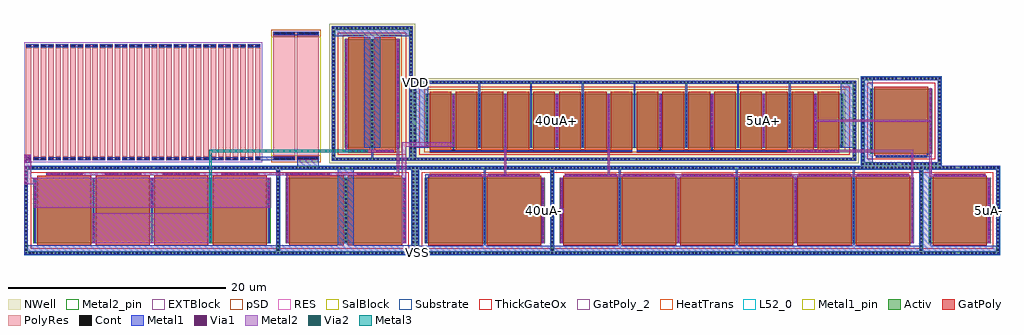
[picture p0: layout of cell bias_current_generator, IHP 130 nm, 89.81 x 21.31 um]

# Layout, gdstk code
from math import pi, radians
import gdstk
lib = gdstk.Library(unit=1e-6, precision=1e-09)
def R(c, l, rs):  # rectangles x0, y0, x1, y1
    for r in rs: c.add(gdstk.rectangle(r[:2], r[2:], *l))
def A(c, l, x, y, w, h, nx, ny, dx, dy):  # array of equal rectangles
    R(c, l, [(x+i*dx, y+j*dy, x+i*dx+w, y+j*dy+h) for i in range(nx) for j in range(ny)])
def P(c, l, *ps):  # polygons
    for p in ps: c.add(gdstk.Polygon(p, *l))
Activ = (1, 0)
GatPoly = (5, 0)
GatPoly_2 = (5, 2)
Cont = (6, 0)
Metal1 = (8, 0)
Metal1_pin = (8, 2)
Metal2 = (10, 0)
Metal2_pin = (10, 2)
pSD = (14, 0)
Via1 = (19, 0)
RES = (24, 0)
SalBlock = (28, 0)
Via2 = (29, 0)
Metal3 = (30, 0)
NWell = (31, 0)
Substrate = (40, 0)
ThickGateOx = (44, 0)
HeatTrans = (51, 0)
L52_0 = (52, 0)
EXTBlock = (111, 0)
PolyRes = (128, 0)

pmoshv = lib.new_cell('pmosHV')
A(pmoshv, Activ, 0, 0, 0.3, 0.3, 17, 1, 2.38, 0)
R(pmoshv, Activ, [(-1.19,-0.89,-0.89,5.89), (39.27,-0.89,39.57,5.89), (0,0,38.38,5), (-1.19,5.89,39.57,6.19)])
P(pmoshv, Activ, [(-1.19,-1.19),(-1.19,5.89),(-0.89,5.89),(-0.89,-0.89),(39.27,-0.89),(39.27,5.89),(-1.19,5.89),(-1.19,6.19),(39.57,6.19),(39.57,-1.19)])
A(pmoshv, GatPoly, 0.34, -0.18, 2, 5.36, 16, 1, 2.38, 0)
R(pmoshv, GatPoly_2, [(0.34,-0.18,2.34,5.18)])
A(pmoshv, Cont, -1.12, -1.12, 0.16, 0.16, 59, 2, 0.34, 7.08)
A(pmoshv, Cont, 19.28, -1.12, 0.16, 0.16, 60, 2, 0.34, 7.08)
A(pmoshv, Cont, -1.12, -0.78, 0.16, 0.16, 1, 9, 0, 0.34)
A(pmoshv, Cont, 39.34, -0.78, 0.16, 0.16, 1, 9, 0, 0.34)
A(pmoshv, Cont, 0.07, 0.07, 0.16, 0.16, 17, 4, 2.38, 0.36)
A(pmoshv, Cont, 0.07, 1.515, 0.16, 0.16, 17, 3, 2.38, 0.36)
A(pmoshv, Cont, -1.12, 2.56, 0.16, 0.16, 1, 10, 0, 0.34)
A(pmoshv, Cont, 39.34, 2.56, 0.16, 0.16, 1, 10, 0, 0.34)
A(pmoshv, Cont, 0.07, 2.6, 0.16, 0.16, 17, 3, 2.38, 0.36)
A(pmoshv, Cont, 0.07, 3.685, 0.16, 0.16, 17, 3, 2.38, 0.36)
A(pmoshv, Cont, 0.07, 4.77, 0.16, 0.16, 17, 1, 2.38, 0)
A(pmoshv, Metal1, 0.07, 0, 0.16, 5, 17, 1, 2.38, 0)
R(pmoshv, Metal1, [(-1.19,-1.19,39.57,-0.89), (-1.19,-0.89,-0.89,5.89), (39.27,-0.89,39.57,5.89), (-1.19,5.89,39.57,6.19)])
R(pmoshv, Metal1_pin, [(0.07,0,0.23,5), (2.45,0,2.61,5)])
R(pmoshv, pSD, [(-0.18,-0.4,38.56,5.4)])
R(pmoshv, NWell, [(-1.43,-1.43,39.81,6.43), (-0.62,-0.62,39,5.62)])
R(pmoshv, Substrate, [(38.08,0,38.38,0.3)])
R(pmoshv, ThickGateOx, [(-0.62,-0.62,39,5.62)])
A(pmoshv, HeatTrans, 0.34, -0.18, 2, 5.36, 16, 1, 2.38, 0)
pmoshv.add(gdstk.Label('pmosHV', (1.34,2.5), layer=63, texttype=0))
pmoshv.add(gdstk.Label('well', (19.19,-1.04), layer=63, texttype=0))
pmoshv.add(gdstk.Label('pmos', (1.34,2.5), layer=51, texttype=0))
pmoshv.add(gdstk.Label('pmos', (3.72,2.5), layer=51, texttype=0))
pmoshv.add(gdstk.Label('pmos', (6.1,2.5), layer=51, texttype=0))
pmoshv.add(gdstk.Label('pmos', (8.48,2.5), layer=51, texttype=0))
pmoshv.add(gdstk.Label('pmos', (10.86,2.5), layer=51, texttype=0))
pmoshv.add(gdstk.Label('pmos', (13.24,2.5), layer=51, texttype=0))
pmoshv.add(gdstk.Label('pmos', (15.62,2.5), layer=51, texttype=0))
pmoshv.add(gdstk.Label('pmos', (18,2.5), layer=51, texttype=0))
pmoshv.add(gdstk.Label('pmos', (20.38,2.5), layer=51, texttype=0))
pmoshv.add(gdstk.Label('pmos', (22.76,2.5), layer=51, texttype=0))
pmoshv.add(gdstk.Label('pmos', (25.14,2.5), layer=51, texttype=0))
pmoshv.add(gdstk.Label('pmos', (27.52,2.5), layer=51, texttype=0))
pmoshv.add(gdstk.Label('pmos', (29.9,2.5), layer=51, texttype=0))
pmoshv.add(gdstk.Label('pmos', (32.28,2.5), layer=51, texttype=0))
pmoshv.add(gdstk.Label('pmos', (34.66,2.5), layer=51, texttype=0))
pmoshv.add(gdstk.Label('pmos', (37.04,2.5), layer=51, texttype=0))

nmoshv_2 = lib.new_cell('nmosHV$2')
A(nmoshv_2, Activ, 0, 0, 0.3, 0.3, 7, 1, 5.38, 0)
R(nmoshv_2, Activ, [(-0.84,-0.79,-0.54,6.79), (33.12,-0.79,33.42,6.79), (0,0,32.58,6), (-0.84,6.79,33.42,7.09)])
P(nmoshv_2, Activ, [(-0.84,-1.09),(-0.84,6.79),(-0.54,6.79),(-0.54,-0.79),(33.12,-0.79),(33.12,6.79),(-0.84,6.79),(-0.84,7.09),(33.42,7.09),(33.42,-1.09)])
A(nmoshv_2, GatPoly, 0.34, -0.18, 5, 6.36, 6, 1, 5.38, 0)
R(nmoshv_2, GatPoly_2, [(0.34,-0.18,5.34,6.18)])
A(nmoshv_2, Cont, -0.77, -1.02, 0.16, 0.16, 50, 2, 0.34, 7.88)
A(nmoshv_2, Cont, 16.53, -1.02, 0.16, 0.16, 50, 2, 0.34, 7.88)
A(nmoshv_2, Cont, -0.77, -0.68, 0.16, 0.16, 1, 11, 0, 0.34)
A(nmoshv_2, Cont, 33.19, -0.68, 0.16, 0.16, 1, 11, 0, 0.34)
A(nmoshv_2, Cont, 0.07, 0.07, 0.16, 0.16, 7, 4, 5.38, 0.355)
A(nmoshv_2, Cont, 0.07, 1.495, 0.16, 0.16, 7, 4, 5.38, 0.355)
A(nmoshv_2, Cont, 0.07, 2.92, 0.16, 0.16, 7, 4, 5.38, 0.355)
A(nmoshv_2, Cont, -0.77, 3.12, 0.16, 0.16, 1, 11, 0, 0.34)
A(nmoshv_2, Cont, 33.19, 3.12, 0.16, 0.16, 1, 11, 0, 0.34)
A(nmoshv_2, Cont, 0.07, 4.345, 0.16, 0.16, 7, 4, 5.38, 0.355)
A(nmoshv_2, Cont, 0.07, 5.77, 0.16, 0.16, 7, 1, 5.38, 0)
A(nmoshv_2, Metal1, 0.07, 0, 0.16, 6, 7, 1, 5.38, 0)
R(nmoshv_2, Metal1, [(-0.84,-1.09,33.42,-0.79), (-0.84,-0.79,-0.54,6.79), (33.12,-0.79,33.42,6.79), (-0.84,6.79,33.42,7.09)])
R(nmoshv_2, Metal1_pin, [(0.07,0,0.23,6), (5.45,0,5.61,6)])
R(nmoshv_2, pSD, [(-0.87,-0.76,-0.51,6.76), (33.09,-0.76,33.45,6.76), (-0.87,6.76,33.45,7.12)])
P(nmoshv_2, pSD, [(-0.87,-1.12),(-0.87,6.76),(-0.51,6.76),(-0.51,-0.76),(33.09,-0.76),(33.09,6.76),(-0.87,6.76),(-0.87,7.12),(33.45,7.12),(33.45,-1.12)])
R(nmoshv_2, Substrate, [(-0.87,-0.76,-0.51,6.76), (33.09,-0.76,33.45,6.76), (-0.87,6.76,33.45,7.12)])
P(nmoshv_2, Substrate, [(-0.87,-1.12),(-0.87,6.76),(-0.51,6.76),(-0.51,-0.76),(33.09,-0.76),(33.09,6.76),(-0.87,6.76),(-0.87,7.12),(33.45,7.12),(33.45,-1.12)])
R(nmoshv_2, ThickGateOx, [(-0.27,-0.52,32.85,6.52)])
A(nmoshv_2, HeatTrans, 0.34, -0.18, 5, 6.36, 6, 1, 5.38, 0)
nmoshv_2.add(gdstk.Label('nmosHV', (2.84,3), layer=63, texttype=0))
nmoshv_2.add(gdstk.Label('sub!', (16.29,-0.94), layer=63, texttype=0))
nmoshv_2.add(gdstk.Label('nmosHV', (2.84,3), layer=51, texttype=0))
nmoshv_2.add(gdstk.Label('nmosHV', (8.22,3), layer=51, texttype=0))
nmoshv_2.add(gdstk.Label('nmosHV', (13.6,3), layer=51, texttype=0))
nmoshv_2.add(gdstk.Label('nmosHV', (18.98,3), layer=51, texttype=0))
nmoshv_2.add(gdstk.Label('nmosHV', (24.36,3), layer=51, texttype=0))
nmoshv_2.add(gdstk.Label('nmosHV', (29.74,3), layer=51, texttype=0))

via_stack = lib.new_cell('via_stack')
R(via_stack, Metal1, [(-3.015,-0.105,3.015,0.105)])
R(via_stack, Metal2, [(-3.015,-0.1,3.015,0.1)])
A(via_stack, Via1, -2.965, -0.095, 0.19, 0.19, 15, 1, 0.41, 0)

via_stack_2 = lib.new_cell('via_stack$2')
R(via_stack_2, GatPoly, [(-0.15,-2.36,0.15,2.36)])
A(via_stack_2, Cont, -0.08, -2.29, 0.16, 0.16, 1, 14, 0, 0.34)
R(via_stack_2, Metal1, [(-0.08,-2.34,0.08,2.34)])

via_stack_4 = lib.new_cell('via_stack$4')
R(via_stack_4, Metal1, [(-0.105,-2.4,0.105,2.4)])
R(via_stack_4, Metal2, [(-0.1,-2.4,0.1,2.4)])
A(via_stack_4, Via1, -0.095, -2.35, 0.19, 0.19, 1, 12, 0, 0.41)

nmoshv_4 = lib.new_cell('nmosHV$4')
R(nmoshv_4, Activ, [(-0.84,-0.79,-0.54,6.79), (6.22,-0.79,6.52,6.79), (0,0,0.3,0.3), (0,0,5.68,6), (5.38,0,5.68,0.3), (-0.84,6.79,6.52,7.09)])
P(nmoshv_4, Activ, [(-0.84,-1.09),(-0.84,6.79),(-0.54,6.79),(-0.54,-0.79),(6.22,-0.79),(6.22,6.79),(-0.84,6.79),(-0.84,7.09),(6.52,7.09),(6.52,-1.09)])
R(nmoshv_4, GatPoly, [(0.34,-0.18,5.34,6.18)])
R(nmoshv_4, GatPoly_2, [(0.34,-0.18,5.34,6.18)])
A(nmoshv_4, Cont, -0.77, -1.02, 0.16, 0.16, 10, 2, 0.34, 7.88)
A(nmoshv_4, Cont, 2.89, -1.02, 0.16, 0.16, 11, 2, 0.34, 7.88)
A(nmoshv_4, Cont, -0.77, -0.68, 0.16, 0.16, 1, 11, 0, 0.34)
A(nmoshv_4, Cont, 6.29, -0.68, 0.16, 0.16, 1, 11, 0, 0.34)
A(nmoshv_4, Cont, 0.07, 0.07, 0.16, 0.16, 1, 4, 0, 0.355)
A(nmoshv_4, Cont, 5.45, 0.07, 0.16, 0.16, 1, 4, 0, 0.355)
A(nmoshv_4, Cont, 0.07, 1.495, 0.16, 0.16, 1, 4, 0, 0.355)
A(nmoshv_4, Cont, 5.45, 1.495, 0.16, 0.16, 1, 4, 0, 0.355)
A(nmoshv_4, Cont, 0.07, 2.92, 0.16, 0.16, 1, 4, 0, 0.355)
A(nmoshv_4, Cont, 5.45, 2.92, 0.16, 0.16, 1, 4, 0, 0.355)
A(nmoshv_4, Cont, -0.77, 3.12, 0.16, 0.16, 1, 11, 0, 0.34)
A(nmoshv_4, Cont, 6.29, 3.12, 0.16, 0.16, 1, 11, 0, 0.34)
A(nmoshv_4, Cont, 0.07, 4.345, 0.16, 0.16, 1, 4, 0, 0.355)
A(nmoshv_4, Cont, 5.45, 4.345, 0.16, 0.16, 1, 4, 0, 0.355)
R(nmoshv_4, Cont, [(0.07,5.77,0.23,5.93), (5.45,5.77,5.61,5.93)])
R(nmoshv_4, Metal1, [(-0.84,-1.09,6.52,-0.79), (-0.84,-0.79,-0.54,6.79), (6.22,-0.79,6.52,6.79), (0.07,0,0.23,6), (5.45,0,5.61,6), (-0.84,6.79,6.52,7.09)])
R(nmoshv_4, Metal1_pin, [(0.07,0,0.23,6), (5.45,0,5.61,6)])
R(nmoshv_4, pSD, [(-0.87,-0.76,-0.51,6.76), (6.19,-0.76,6.55,6.76), (-0.87,6.76,6.55,7.12)])
P(nmoshv_4, pSD, [(-0.87,-1.12),(-0.87,6.76),(-0.51,6.76),(-0.51,-0.76),(6.19,-0.76),(6.19,6.76),(-0.87,6.76),(-0.87,7.12),(6.55,7.12),(6.55,-1.12)])
R(nmoshv_4, Substrate, [(-0.87,-0.76,-0.51,6.76), (6.19,-0.76,6.55,6.76), (-0.87,6.76,6.55,7.12)])
P(nmoshv_4, Substrate, [(-0.87,-1.12),(-0.87,6.76),(-0.51,6.76),(-0.51,-0.76),(6.19,-0.76),(6.19,6.76),(-0.87,6.76),(-0.87,7.12),(6.55,7.12),(6.55,-1.12)])
R(nmoshv_4, ThickGateOx, [(-0.27,-0.52,5.95,6.52)])
R(nmoshv_4, HeatTrans, [(0.34,-0.18,5.34,6.18)])
nmoshv_4.add(gdstk.Label('nmosHV', (2.84,3), layer=63, texttype=0))
nmoshv_4.add(gdstk.Label('sub!', (2.84,-0.94), layer=63, texttype=0))
nmoshv_4.add(gdstk.Label('nmosHV', (2.84,3), layer=51, texttype=0))

nmoshv = lib.new_cell('nmosHV')
A(nmoshv, Activ, 0, 0, 0.3, 0.3, 3, 1, 5.38, 0)
R(nmoshv, Activ, [(-0.84,-0.79,-0.54,6.79), (11.6,-0.79,11.9,6.79), (0,0,11.06,6), (-0.84,6.79,11.9,7.09)])
P(nmoshv, Activ, [(-0.84,-1.09),(-0.84,6.79),(-0.54,6.79),(-0.54,-0.79),(11.6,-0.79),(11.6,6.79),(-0.84,6.79),(-0.84,7.09),(11.9,7.09),(11.9,-1.09)])
R(nmoshv, GatPoly, [(0.34,-0.18,5.34,6.18), (5.72,-0.18,10.72,6.18)])
R(nmoshv, GatPoly_2, [(0.34,-0.18,5.34,6.18)])
A(nmoshv, Cont, -0.77, -1.02, 0.16, 0.16, 18, 2, 0.34, 7.88)
A(nmoshv, Cont, 5.55, -1.02, 0.16, 0.16, 19, 2, 0.34, 7.88)
A(nmoshv, Cont, -0.77, -0.68, 0.16, 0.16, 1, 11, 0, 0.34)
A(nmoshv, Cont, 11.67, -0.68, 0.16, 0.16, 1, 11, 0, 0.34)
A(nmoshv, Cont, 0.07, 0.07, 0.16, 0.16, 3, 4, 5.38, 0.355)
A(nmoshv, Cont, 0.07, 1.495, 0.16, 0.16, 3, 4, 5.38, 0.355)
A(nmoshv, Cont, 0.07, 2.92, 0.16, 0.16, 3, 4, 5.38, 0.355)
A(nmoshv, Cont, -0.77, 3.12, 0.16, 0.16, 1, 11, 0, 0.34)
A(nmoshv, Cont, 11.67, 3.12, 0.16, 0.16, 1, 11, 0, 0.34)
A(nmoshv, Cont, 0.07, 4.345, 0.16, 0.16, 3, 4, 5.38, 0.355)
A(nmoshv, Cont, 0.07, 5.77, 0.16, 0.16, 3, 1, 5.38, 0)
A(nmoshv, Metal1, 0.07, 0, 0.16, 6, 3, 1, 5.38, 0)
R(nmoshv, Metal1, [(-0.84,-1.09,11.9,-0.79), (-0.84,-0.79,-0.54,6.79), (11.6,-0.79,11.9,6.79), (-0.84,6.79,11.9,7.09)])
R(nmoshv, Metal1_pin, [(0.07,0,0.23,6), (5.45,0,5.61,6)])
R(nmoshv, pSD, [(-0.87,-0.76,-0.51,6.76), (11.57,-0.76,11.93,6.76), (-0.87,6.76,11.93,7.12)])
P(nmoshv, pSD, [(-0.87,-1.12),(-0.87,6.76),(-0.51,6.76),(-0.51,-0.76),(11.57,-0.76),(11.57,6.76),(-0.87,6.76),(-0.87,7.12),(11.93,7.12),(11.93,-1.12)])
R(nmoshv, Substrate, [(-0.87,-0.76,-0.51,6.76), (11.57,-0.76,11.93,6.76), (-0.87,6.76,11.93,7.12)])
P(nmoshv, Substrate, [(-0.87,-1.12),(-0.87,6.76),(-0.51,6.76),(-0.51,-0.76),(11.57,-0.76),(11.57,6.76),(-0.87,6.76),(-0.87,7.12),(11.93,7.12),(11.93,-1.12)])
R(nmoshv, ThickGateOx, [(-0.27,-0.52,11.33,6.52)])
R(nmoshv, HeatTrans, [(0.34,-0.18,5.34,6.18), (5.72,-0.18,10.72,6.18)])
nmoshv.add(gdstk.Label('nmosHV', (2.84,3), layer=63, texttype=0))
nmoshv.add(gdstk.Label('sub!', (5.53,-0.94), layer=63, texttype=0))
nmoshv.add(gdstk.Label('nmosHV', (2.84,3), layer=51, texttype=0))
nmoshv.add(gdstk.Label('nmosHV', (8.22,3), layer=51, texttype=0))

nmoshv_5 = lib.new_cell('nmosHV$5')
A(nmoshv_5, Activ, 0, 0, 0.3, 0.3, 3, 1, 5.38, 0)
R(nmoshv_5, Activ, [(-0.84,-0.79,-0.54,6.79), (11.6,-0.79,11.9,6.79), (0,0,11.06,6), (-0.84,6.79,11.9,7.09)])
P(nmoshv_5, Activ, [(-0.84,-1.09),(-0.84,6.79),(-0.54,6.79),(-0.54,-0.79),(11.6,-0.79),(11.6,6.79),(-0.84,6.79),(-0.84,7.09),(11.9,7.09),(11.9,-1.09)])
R(nmoshv_5, GatPoly, [(0.34,-0.18,5.34,6.18), (5.72,-0.18,10.72,6.18)])
R(nmoshv_5, GatPoly_2, [(0.34,-0.18,5.34,6.18)])
A(nmoshv_5, Cont, -0.77, -1.02, 0.16, 0.16, 18, 2, 0.34, 7.88)
A(nmoshv_5, Cont, 5.55, -1.02, 0.16, 0.16, 19, 2, 0.34, 7.88)
A(nmoshv_5, Cont, -0.77, -0.68, 0.16, 0.16, 1, 11, 0, 0.34)
A(nmoshv_5, Cont, 11.67, -0.68, 0.16, 0.16, 1, 11, 0, 0.34)
A(nmoshv_5, Cont, 0.07, 0.07, 0.16, 0.16, 3, 4, 5.38, 0.355)
A(nmoshv_5, Cont, 0.07, 1.495, 0.16, 0.16, 3, 4, 5.38, 0.355)
A(nmoshv_5, Cont, 0.07, 2.92, 0.16, 0.16, 3, 4, 5.38, 0.355)
A(nmoshv_5, Cont, -0.77, 3.12, 0.16, 0.16, 1, 11, 0, 0.34)
A(nmoshv_5, Cont, 11.67, 3.12, 0.16, 0.16, 1, 11, 0, 0.34)
A(nmoshv_5, Cont, 0.07, 4.345, 0.16, 0.16, 3, 4, 5.38, 0.355)
A(nmoshv_5, Cont, 0.07, 5.77, 0.16, 0.16, 3, 1, 5.38, 0)
A(nmoshv_5, Metal1, 0.07, 0, 0.16, 6, 3, 1, 5.38, 0)
R(nmoshv_5, Metal1, [(-0.84,-1.09,11.9,-0.79), (-0.84,-0.79,-0.54,6.79), (11.6,-0.79,11.9,6.79), (-0.84,6.79,11.9,7.09)])
R(nmoshv_5, Metal1_pin, [(0.07,0,0.23,6), (5.45,0,5.61,6)])
R(nmoshv_5, pSD, [(-0.87,-0.76,-0.51,6.76), (11.57,-0.76,11.93,6.76), (-0.87,6.76,11.93,7.12)])
P(nmoshv_5, pSD, [(-0.87,-1.12),(-0.87,6.76),(-0.51,6.76),(-0.51,-0.76),(11.57,-0.76),(11.57,6.76),(-0.87,6.76),(-0.87,7.12),(11.93,7.12),(11.93,-1.12)])
R(nmoshv_5, Substrate, [(-0.87,-0.76,-0.51,6.76), (11.57,-0.76,11.93,6.76), (-0.87,6.76,11.93,7.12)])
P(nmoshv_5, Substrate, [(-0.87,-1.12),(-0.87,6.76),(-0.51,6.76),(-0.51,-0.76),(11.57,-0.76),(11.57,6.76),(-0.87,6.76),(-0.87,7.12),(11.93,7.12),(11.93,-1.12)])
R(nmoshv_5, ThickGateOx, [(-0.27,-0.52,11.33,6.52)])
R(nmoshv_5, HeatTrans, [(0.34,-0.18,5.34,6.18), (5.72,-0.18,10.72,6.18)])
nmoshv_5.add(gdstk.Label('nmosHV', (2.84,3), layer=63, texttype=0))
nmoshv_5.add(gdstk.Label('sub!', (5.53,-0.94), layer=63, texttype=0))
nmoshv_5.add(gdstk.Label('nmosHV', (2.84,3), layer=51, texttype=0))
nmoshv_5.add(gdstk.Label('nmosHV', (8.22,3), layer=51, texttype=0))

rppd = lib.new_cell('rppd')
R(rppd, GatPoly, [(0,-0.43,2,-0.2), (2.18,-0.43,4.18,-0.2), (0,-0.2,2,0), (2.18,-0.2,4.18,0), (0,10.95,2,11.15), (2.18,10.95,4.18,11.15), (0,11.15,2,11.38), (2.18,11.15,4.18,11.38)])
R(rppd, Cont, [(0.07,-0.36,1.93,-0.2), (2.25,-0.36,4.11,-0.2), (0.07,11.15,1.93,11.31), (2.25,11.15,4.11,11.31)])
R(rppd, Metal1, [(0.02,-0.43,1.98,-0.13), (2.2,-0.43,4.16,-0.13), (0.02,11.08,1.98,11.38), (0.02,11.08,4.16,11.38), (2.2,11.08,4.16,11.38)])
R(rppd, Metal1_pin, [(0.02,-0.43,1.98,-0.13), (2.2,-0.43,4.16,-0.13), (0.02,11.08,1.98,11.38), (2.2,11.08,4.16,11.38)])
R(rppd, pSD, [(-0.18,-0.61,2.18,0), (2,-0.61,4.36,0), (-0.18,0,2.18,10.95), (2,0,4.36,10.95), (-0.18,10.95,2.18,11.56), (2,10.95,4.36,11.56)])
R(rppd, SalBlock, [(-0.2,0,2.2,10.95), (1.98,0,4.38,10.95)])
R(rppd, L52_0, [(0,0,2,10.95), (2.18,0,4.18,10.95)])
R(rppd, EXTBlock, [(-0.18,-0.61,2.18,0), (2,-0.61,4.36,0), (-0.2,0,2.2,10.95), (1.98,0,4.38,10.95), (-0.18,10.95,2.18,11.56), (2,10.95,4.36,11.56)])
R(rppd, PolyRes, [(0,0,2,10.95), (2.18,0,4.18,10.95)])
rppd.add(gdstk.Label('rppd r=1454.242', (1,5.475), layer=63, texttype=0))
rppd.add(gdstk.Label('rppd r=1454.242', (1,5.475), layer=63, texttype=0))
rppd.add(gdstk.Label('rppd', (1,5.475), layer=52, texttype=0))
rppd.add(gdstk.Label('rppd', (3.18,5.475), layer=52, texttype=0))

via_stack_2_1 = lib.new_cell('via_stack$2$1')
R(via_stack_2_1, Metal1, [(-3.015,-0.105,3.015,0.105)])
R(via_stack_2_1, Metal2, [(-3.015,-0.1,3.015,0.1)])
A(via_stack_2_1, Via1, -2.965, -0.095, 0.19, 0.19, 15, 1, 0.41, 0)

via_stack_3 = lib.new_cell('via_stack$3')
R(via_stack_3, Metal1, [(-0.105,-1.99,0.105,1.99)])
R(via_stack_3, Metal2, [(-0.1,-1.99,0.1,1.99)])
A(via_stack_3, Via1, -0.095, -1.94, 0.19, 0.19, 1, 10, 0, 0.41)

via_stack_14 = lib.new_cell('via_stack$14')
R(via_stack_14, GatPoly, [(-0.15,-2.02,0.15,2.02)])
A(via_stack_14, Cont, -0.08, -1.95, 0.16, 0.16, 1, 12, 0, 0.34)
R(via_stack_14, Metal1, [(-0.08,-2,0.08,2)])

via_stack_5 = lib.new_cell('via_stack$5')
R(via_stack_5, Metal1, [(-5.065,-0.105,5.065,0.105)])
R(via_stack_5, Metal2, [(-5.065,-0.1,5.065,0.1)])
A(via_stack_5, Via1, -5.015, -0.095, 0.19, 0.19, 25, 1, 0.41, 0)

pmoshv_1 = lib.new_cell('pmosHV$1')
A(pmoshv_1, Activ, 0, 0, 0.3, 0.3, 3, 1, 2.38, 0)
R(pmoshv_1, Activ, [(-1.19,-0.89,-0.89,10.89), (5.95,-0.89,6.25,10.89), (0,0,5.06,10), (-1.19,10.89,6.25,11.19)])
P(pmoshv_1, Activ, [(-1.19,-1.19),(-1.19,10.89),(-0.89,10.89),(-0.89,-0.89),(5.95,-0.89),(5.95,10.89),(-1.19,10.89),(-1.19,11.19),(6.25,11.19),(6.25,-1.19)])
R(pmoshv_1, GatPoly, [(0.34,-0.18,2.34,10.18), (2.72,-0.18,4.72,10.18)])
R(pmoshv_1, GatPoly_2, [(0.34,-0.18,2.34,10.18)])
A(pmoshv_1, Cont, -1.12, -1.12, 0.16, 0.16, 22, 2, 0.34, 12.08)
A(pmoshv_1, Cont, -1.12, -0.78, 0.16, 0.16, 1, 17, 0, 0.34)
A(pmoshv_1, Cont, 6.02, -0.78, 0.16, 0.16, 1, 17, 0, 0.34)
A(pmoshv_1, Cont, 0.07, 0.07, 0.16, 0.16, 3, 4, 2.38, 0.345)
A(pmoshv_1, Cont, 0.07, 1.455, 0.16, 0.16, 3, 3, 2.38, 0.345)
A(pmoshv_1, Cont, 0.07, 2.495, 0.16, 0.16, 3, 4, 2.38, 0.345)
A(pmoshv_1, Cont, 0.07, 3.88, 0.16, 0.16, 3, 3, 2.38, 0.345)
A(pmoshv_1, Cont, 0.07, 4.92, 0.16, 0.16, 3, 4, 2.38, 0.345)
A(pmoshv_1, Cont, -1.12, 5.18, 0.16, 0.16, 1, 17, 0, 0.34)
A(pmoshv_1, Cont, 6.02, 5.18, 0.16, 0.16, 1, 17, 0, 0.34)
A(pmoshv_1, Cont, 0.07, 6.305, 0.16, 0.16, 3, 3, 2.38, 0.345)
A(pmoshv_1, Cont, 0.07, 7.345, 0.16, 0.16, 3, 4, 2.38, 0.345)
A(pmoshv_1, Cont, 0.07, 8.73, 0.16, 0.16, 3, 3, 2.38, 0.345)
A(pmoshv_1, Cont, 0.07, 9.77, 0.16, 0.16, 3, 1, 2.38, 0)
A(pmoshv_1, Metal1, 0.07, 0, 0.16, 10, 3, 1, 2.38, 0)
R(pmoshv_1, Metal1, [(-1.19,-1.19,6.25,-0.89), (-1.19,-0.89,-0.89,10.89), (5.95,-0.89,6.25,10.89), (-1.19,10.89,6.25,11.19)])
R(pmoshv_1, Metal1_pin, [(0.07,0,0.23,10), (2.45,0,2.61,10)])
R(pmoshv_1, pSD, [(-0.18,-0.4,5.24,10.4)])
R(pmoshv_1, NWell, [(-1.43,-1.43,6.49,11.43), (-0.62,-0.62,5.68,10.62)])
R(pmoshv_1, Substrate, [(4.76,0,5.06,0.3)])
R(pmoshv_1, ThickGateOx, [(-0.62,-0.62,5.68,10.62)])
R(pmoshv_1, HeatTrans, [(0.34,-0.18,2.34,10.18), (2.72,-0.18,4.72,10.18)])
pmoshv_1.add(gdstk.Label('pmosHV', (1.34,5), layer=63, texttype=0))
pmoshv_1.add(gdstk.Label('well', (2.53,-1.04), layer=63, texttype=0))
pmoshv_1.add(gdstk.Label('pmos', (1.34,5), layer=51, texttype=0))
pmoshv_1.add(gdstk.Label('pmos', (3.72,5), layer=51, texttype=0))

via_stack_13 = lib.new_cell('via_stack$13')
R(via_stack_13, Metal1, [(-1.375,-0.105,1.375,0.105)])
R(via_stack_13, Metal2, [(-1.375,-0.1,1.375,0.1)])
A(via_stack_13, Via1, -1.325, -0.095, 0.19, 0.19, 7, 1, 0.41, 0)
A(via_stack_13, Via2, -1.325, -0.095, 0.19, 0.19, 7, 1, 0.41, 0)
R(via_stack_13, Metal3, [(-1.375,-0.1,1.375,0.1)])

via_stack_4_1 = lib.new_cell('via_stack$4$1')
R(via_stack_4_1, Metal1, [(-1.375,-0.105,1.375,0.105)])
R(via_stack_4_1, Metal2, [(-1.375,-0.1,1.375,0.1)])
A(via_stack_4_1, Via1, -1.325, -0.095, 0.19, 0.19, 7, 1, 0.41, 0)

via_stack_10 = lib.new_cell('via_stack$10')
R(via_stack_10, GatPoly, [(-0.15,-1.68,0.15,1.68)])
A(via_stack_10, Cont, -0.08, -1.61, 0.16, 0.16, 1, 10, 0, 0.34)
R(via_stack_10, Metal1, [(-0.08,-1.66,0.08,1.66)])

via_stack_9 = lib.new_cell('via_stack$9')
R(via_stack_9, Metal1, [(-0.105,-1.58,0.105,1.58)])
R(via_stack_9, Metal2, [(-0.1,-1.58,0.1,1.58)])
A(via_stack_9, Via1, -0.095, -1.53, 0.19, 0.19, 1, 8, 0, 0.41)

via_stack_8 = lib.new_cell('via_stack$8')
R(via_stack_8, GatPoly, [(-0.15,-0.83,0.15,0.83)])
A(via_stack_8, Cont, -0.08, -0.76, 0.16, 0.16, 1, 5, 0, 0.34)
R(via_stack_8, Metal1, [(-0.08,-0.81,0.08,0.81)])

via_stack_15 = lib.new_cell('via_stack$15')
R(via_stack_15, Metal1, [(-0.105,-0.76,0.105,0.76)])
R(via_stack_15, Metal2, [(-0.1,-0.76,0.1,0.76)])
A(via_stack_15, Via1, -0.095, -0.71, 0.19, 0.19, 1, 4, 0, 0.41)
A(via_stack_15, Via2, -0.095, -0.71, 0.19, 0.19, 1, 4, 0, 0.41)
R(via_stack_15, Metal3, [(-0.1,-0.76,0.1,0.76)])

via_stack_12 = lib.new_cell('via_stack$12')
R(via_stack_12, Metal1, [(-0.105,-0.76,0.105,0.76)])
R(via_stack_12, Metal2, [(-0.1,-0.76,0.1,0.76)])
A(via_stack_12, Via1, -0.095, -0.71, 0.19, 0.19, 1, 4, 0, 0.41)

via_stack_6 = lib.new_cell('via_stack$6')
R(via_stack_6, Metal1, [(-0.35,-0.31,0.35,0.31)])
R(via_stack_6, Metal2, [(-0.35,-0.305,0.35,0.305)])
R(via_stack_6, Via1, [(-0.3,-0.3,-0.11,-0.11), (0.11,-0.3,0.3,-0.11), (-0.3,0.11,-0.11,0.3), (0.11,0.11,0.3,0.3)])

rsil = lib.new_cell('rsil')
A(rsil, GatPoly, 0, -0.35, 0.5, 0.35, 32, 2, 0.68, 10.35)
A(rsil, Cont, 0.07, -0.28, 0.36, 0.16, 32, 2, 0.68, 10.4)
A(rsil, Metal1, 0.02, -0.33, 0.46, 0.26, 32, 2, 0.68, 10.4)
A(rsil, Metal1, 0.7, -0.33, 1.14, 0.26, 15, 1, 1.36, 0)
A(rsil, Metal1, 0.02, 10.07, 1.14, 0.26, 16, 1, 1.36, 0)
A(rsil, Metal1_pin, 0.02, -0.33, 0.46, 0.26, 32, 2, 0.68, 10.4)
A(rsil, RES, 0, 0, 0.5, 10, 32, 1, 0.68, 0)
A(rsil, L52_0, 0, 0, 0.5, 10, 32, 1, 0.68, 0)
A(rsil, EXTBlock, -0.18, -0.53, 0.86, 0.53, 32, 1, 0.68, 0)
A(rsil, EXTBlock, -0.18, 0, 0.86, 10, 32, 1, 0.68, 0)
A(rsil, EXTBlock, -0.18, 0, 0.86, 10.53, 32, 1, 0.68, 0)
A(rsil, PolyRes, 0, 0, 0.5, 10, 32, 1, 0.68, 0)
rsil.add(gdstk.Label('rsil r=155', (0.25,5), layer=63, texttype=0))
rsil.add(gdstk.Label('rsil r=155', (0.25,5), layer=63, texttype=0))
rsil.add(gdstk.Label('rsil r=155', (0.25,5), layer=63, texttype=0))
rsil.add(gdstk.Label('rsil r=155', (0.25,5), layer=63, texttype=0))
rsil.add(gdstk.Label('rsil r=155', (0.25,5), layer=63, texttype=0))
rsil.add(gdstk.Label('rsil r=155', (0.25,5), layer=63, texttype=0))
rsil.add(gdstk.Label('rsil r=155', (0.25,5), layer=63, texttype=0))
rsil.add(gdstk.Label('rsil r=155', (0.25,5), layer=63, texttype=0))
rsil.add(gdstk.Label('rsil r=155', (0.25,5), layer=63, texttype=0))
rsil.add(gdstk.Label('rsil r=155', (0.25,5), layer=63, texttype=0))
rsil.add(gdstk.Label('rsil r=155', (0.25,5), layer=63, texttype=0))
rsil.add(gdstk.Label('rsil r=155', (0.25,5), layer=63, texttype=0))
rsil.add(gdstk.Label('rsil r=155', (0.25,5), layer=63, texttype=0))
rsil.add(gdstk.Label('rsil r=155', (0.25,5), layer=63, texttype=0))
rsil.add(gdstk.Label('rsil r=155', (0.25,5), layer=63, texttype=0))
rsil.add(gdstk.Label('rsil r=155', (0.25,5), layer=63, texttype=0))
rsil.add(gdstk.Label('rsil r=155', (0.25,5), layer=63, texttype=0))
rsil.add(gdstk.Label('rsil r=155', (0.25,5), layer=63, texttype=0))
rsil.add(gdstk.Label('rsil r=155', (0.25,5), layer=63, texttype=0))
rsil.add(gdstk.Label('rsil r=155', (0.25,5), layer=63, texttype=0))
rsil.add(gdstk.Label('rsil r=155', (0.25,5), layer=63, texttype=0))
rsil.add(gdstk.Label('rsil r=155', (0.25,5), layer=63, texttype=0))
rsil.add(gdstk.Label('rsil r=155', (0.25,5), layer=63, texttype=0))
rsil.add(gdstk.Label('rsil r=155', (0.25,5), layer=63, texttype=0))
rsil.add(gdstk.Label('rsil r=155', (0.25,5), layer=63, texttype=0))
rsil.add(gdstk.Label('rsil r=155', (0.25,5), layer=63, texttype=0))
rsil.add(gdstk.Label('rsil r=155', (0.25,5), layer=63, texttype=0))
rsil.add(gdstk.Label('rsil r=155', (0.25,5), layer=63, texttype=0))
rsil.add(gdstk.Label('rsil r=155', (0.25,5), layer=63, texttype=0))
rsil.add(gdstk.Label('rsil r=155', (0.25,5), layer=63, texttype=0))
rsil.add(gdstk.Label('rsil r=155', (0.25,5), layer=63, texttype=0))
rsil.add(gdstk.Label('rsil r=155', (0.25,5), layer=63, texttype=0))
rsil.add(gdstk.Label('rsil', (0.25,5), layer=52, texttype=0))
rsil.add(gdstk.Label('rsil', (0.93,5), layer=52, texttype=0))
rsil.add(gdstk.Label('rsil', (1.61,5), layer=52, texttype=0))
rsil.add(gdstk.Label('rsil', (2.29,5), layer=52, texttype=0))
rsil.add(gdstk.Label('rsil', (2.97,5), layer=52, texttype=0))
rsil.add(gdstk.Label('rsil', (3.65,5), layer=52, texttype=0))
rsil.add(gdstk.Label('rsil', (4.33,5), layer=52, texttype=0))
rsil.add(gdstk.Label('rsil', (5.01,5), layer=52, texttype=0))
rsil.add(gdstk.Label('rsil', (5.69,5), layer=52, texttype=0))
rsil.add(gdstk.Label('rsil', (6.37,5), layer=52, texttype=0))
rsil.add(gdstk.Label('rsil', (7.05,5), layer=52, texttype=0))
rsil.add(gdstk.Label('rsil', (7.73,5), layer=52, texttype=0))
rsil.add(gdstk.Label('rsil', (8.41,5), layer=52, texttype=0))
rsil.add(gdstk.Label('rsil', (9.09,5), layer=52, texttype=0))
rsil.add(gdstk.Label('rsil', (9.77,5), layer=52, texttype=0))
rsil.add(gdstk.Label('rsil', (10.45,5), layer=52, texttype=0))
rsil.add(gdstk.Label('rsil', (11.13,5), layer=52, texttype=0))
rsil.add(gdstk.Label('rsil', (11.81,5), layer=52, texttype=0))
rsil.add(gdstk.Label('rsil', (12.49,5), layer=52, texttype=0))
rsil.add(gdstk.Label('rsil', (13.17,5), layer=52, texttype=0))
rsil.add(gdstk.Label('rsil', (13.85,5), layer=52, texttype=0))
rsil.add(gdstk.Label('rsil', (14.53,5), layer=52, texttype=0))
rsil.add(gdstk.Label('rsil', (15.21,5), layer=52, texttype=0))
rsil.add(gdstk.Label('rsil', (15.89,5), layer=52, texttype=0))
rsil.add(gdstk.Label('rsil', (16.57,5), layer=52, texttype=0))
rsil.add(gdstk.Label('rsil', (17.25,5), layer=52, texttype=0))
rsil.add(gdstk.Label('rsil', (17.93,5), layer=52, texttype=0))
rsil.add(gdstk.Label('rsil', (18.61,5), layer=52, texttype=0))
rsil.add(gdstk.Label('rsil', (19.29,5), layer=52, texttype=0))
rsil.add(gdstk.Label('rsil', (19.97,5), layer=52, texttype=0))
rsil.add(gdstk.Label('rsil', (20.65,5), layer=52, texttype=0))
rsil.add(gdstk.Label('rsil', (21.33,5), layer=52, texttype=0))

nmoshv_3 = lib.new_cell('nmosHV$3')
A(nmoshv_3, Activ, 0, 0, 0.3, 0.3, 5, 1, 5.38, 0)
R(nmoshv_3, Activ, [(-0.84,-0.79,-0.54,6.79), (22.36,-0.79,22.66,6.79), (0,0,21.82,6), (-0.84,6.79,22.66,7.09)])
P(nmoshv_3, Activ, [(-0.84,-1.09),(-0.84,6.79),(-0.54,6.79),(-0.54,-0.79),(22.36,-0.79),(22.36,6.79),(-0.84,6.79),(-0.84,7.09),(22.66,7.09),(22.66,-1.09)])
A(nmoshv_3, GatPoly, 0.34, -0.18, 5, 6.36, 4, 1, 5.38, 0)
R(nmoshv_3, GatPoly_2, [(0.34,-0.18,5.34,6.18)])
A(nmoshv_3, Cont, -0.77, -1.02, 0.16, 0.16, 34, 2, 0.34, 7.88)
A(nmoshv_3, Cont, 10.87, -1.02, 0.16, 0.16, 35, 2, 0.34, 7.88)
A(nmoshv_3, Cont, -0.77, -0.68, 0.16, 0.16, 1, 11, 0, 0.34)
A(nmoshv_3, Cont, 22.43, -0.68, 0.16, 0.16, 1, 11, 0, 0.34)
A(nmoshv_3, Cont, 0.07, 0.07, 0.16, 0.16, 5, 4, 5.38, 0.355)
A(nmoshv_3, Cont, 0.07, 1.495, 0.16, 0.16, 5, 4, 5.38, 0.355)
A(nmoshv_3, Cont, 0.07, 2.92, 0.16, 0.16, 5, 4, 5.38, 0.355)
A(nmoshv_3, Cont, -0.77, 3.12, 0.16, 0.16, 1, 11, 0, 0.34)
A(nmoshv_3, Cont, 22.43, 3.12, 0.16, 0.16, 1, 11, 0, 0.34)
A(nmoshv_3, Cont, 0.07, 4.345, 0.16, 0.16, 5, 4, 5.38, 0.355)
A(nmoshv_3, Cont, 0.07, 5.77, 0.16, 0.16, 5, 1, 5.38, 0)
A(nmoshv_3, Metal1, 0.07, 0, 0.16, 6, 5, 1, 5.38, 0)
R(nmoshv_3, Metal1, [(-0.84,-1.09,22.66,-0.79), (-0.84,-0.79,-0.54,6.79), (22.36,-0.79,22.66,6.79), (-0.84,6.79,22.66,7.09)])
R(nmoshv_3, Metal1_pin, [(0.07,0,0.23,6), (5.45,0,5.61,6)])
R(nmoshv_3, pSD, [(-0.87,-0.76,-0.51,6.76), (22.33,-0.76,22.69,6.76), (-0.87,6.76,22.69,7.12)])
P(nmoshv_3, pSD, [(-0.87,-1.12),(-0.87,6.76),(-0.51,6.76),(-0.51,-0.76),(22.33,-0.76),(22.33,6.76),(-0.87,6.76),(-0.87,7.12),(22.69,7.12),(22.69,-1.12)])
R(nmoshv_3, Substrate, [(-0.87,-0.76,-0.51,6.76), (22.33,-0.76,22.69,6.76), (-0.87,6.76,22.69,7.12)])
P(nmoshv_3, Substrate, [(-0.87,-1.12),(-0.87,6.76),(-0.51,6.76),(-0.51,-0.76),(22.33,-0.76),(22.33,6.76),(-0.87,6.76),(-0.87,7.12),(22.69,7.12),(22.69,-1.12)])
R(nmoshv_3, ThickGateOx, [(-0.27,-0.52,22.09,6.52)])
A(nmoshv_3, HeatTrans, 0.34, -0.18, 5, 6.36, 4, 1, 5.38, 0)
nmoshv_3.add(gdstk.Label('nmosHV', (2.84,3), layer=63, texttype=0))
nmoshv_3.add(gdstk.Label('sub!', (10.91,-0.94), layer=63, texttype=0))
nmoshv_3.add(gdstk.Label('nmosHV', (2.84,3), layer=51, texttype=0))
nmoshv_3.add(gdstk.Label('nmosHV', (8.22,3), layer=51, texttype=0))
nmoshv_3.add(gdstk.Label('nmosHV', (13.6,3), layer=51, texttype=0))
nmoshv_3.add(gdstk.Label('nmosHV', (18.98,3), layer=51, texttype=0))

current_reference_40ua = lib.new_cell('current_reference_40uA')
A(current_reference_40ua, GatPoly, 14.47, 7.3, 3.36, 0.03, 4, 1, 5.38, 0)
R(current_reference_40ua, GatPoly, [(2.03,7.3,5.39,7.33), (7.865,7.3,11.59,7.33), (1.77,9.44,6.15,9.7)])
R(current_reference_40ua, Metal1, [(0.33,0.33,35.67,0.91), (5.65,0.33,7.15,7.91), (11.675,7.135,11.885,7.585), (8.9,8.21,10.86,8.75), (13.04,8.75,14.72,9.05), (3.88,8.99,4.04,9.88), (5.91,9.485,6.445,9.695), (6.235,9.485,6.445,9.815), (3.21,9.88,4.71,20.77), (0.54,20.16,7.38,20.77)])
R(current_reference_40ua, Metal1_pin, [(0.03,0.03,0.43,0.43), (0.24,20.67,0.64,21.07)])
R(current_reference_40ua, Metal2, [(0.82,1.105,1.22,7.135), (18.74,1.105,29.7,3.855), (13.36,4.385,35.08,7.135), (11.68,7.135,11.88,7.58), (2.13,7.38,33.87,7.58), (3.53,9.49,4.39,9.69), (5.91,9.49,6.24,9.69), (6.24,9.49,6.44,9.815)])
R(current_reference_40ua, Metal2_pin, [(0.82,3.92,1.22,4.32)])
R(current_reference_40ua, ThickGateOx, [(12.2,0.6,13.04,7.64)])
current_reference_40ua.add(gdstk.FlexPath([(1.58,9.815),(1.58,7.48),(2.13,7.48)], 0.2, ends="flush", simple_path=True, layer=10, datatype=0))  # Metal2
current_reference_40ua.add(gdstk.FlexPath([(35.65,8.53),(35.65,6.83),(35.08,6.83)], 0.61, ends="flush", simple_path=True, layer=10, datatype=0))  # Metal2
current_reference_40ua.add(gdstk.FlexPath([(5.91,9.59),(18.84,9.59),(18.84,3.855)], 0.2, ends="flush", simple_path=True, layer=30, datatype=0))  # Metal3
current_reference_40ua.add(gdstk.Reference(nmoshv_5, (0.87,1.12)))
current_reference_40ua.add(gdstk.Reference(rppd, (8.88,9.18)))
current_reference_40ua.add(gdstk.Reference(via_stack_2_1, (1.02,4.12), rotation=pi/2))
current_reference_40ua.add(gdstk.Reference(via_stack_2_1, (11.78,4.12), rotation=pi/2))
current_reference_40ua.add(gdstk.Reference(via_stack_3, (9.885,7.48), rotation=pi/2))
current_reference_40ua.add(gdstk.Reference(via_stack_14, (9.885,7.48), rotation=pi/2))
current_reference_40ua.add(gdstk.Reference(via_stack_5, (1.58,14.88), rotation=pi/2))
current_reference_40ua.add(gdstk.Reference(pmoshv_1, (1.43,9.88)))
current_reference_40ua.add(gdstk.Reference(via_stack_5, (6.34,14.88), rotation=pi/2))
current_reference_40ua.add(gdstk.Reference(via_stack_13, (18.84,2.48), rotation=pi/2))
current_reference_40ua.add(gdstk.Reference(via_stack_4_1, (13.46,5.76), rotation=pi/2))
current_reference_40ua.add(gdstk.Reference(via_stack_4_1, (24.22,5.76), rotation=pi/2))
current_reference_40ua.add(gdstk.Reference(via_stack_4_1, (29.6,2.48), rotation=pi/2))
current_reference_40ua.add(gdstk.Reference(via_stack_4_1, (34.98,5.76), rotation=pi/2))
current_reference_40ua.add(gdstk.Reference(via_stack_10, (3.71,7.48), rotation=pi/2))
current_reference_40ua.add(gdstk.Reference(via_stack_9, (3.71,7.48), rotation=pi/2))
current_reference_40ua.add(gdstk.Reference(via_stack_10, (16.15,7.48), rotation=pi/2))
current_reference_40ua.add(gdstk.Reference(via_stack_9, (16.15,7.48), rotation=pi/2))
current_reference_40ua.add(gdstk.Reference(via_stack_10, (21.53,7.48), rotation=pi/2))
current_reference_40ua.add(gdstk.Reference(via_stack_9, (21.53,7.48), rotation=pi/2))
current_reference_40ua.add(gdstk.Reference(via_stack_10, (26.91,7.48), rotation=pi/2))
current_reference_40ua.add(gdstk.Reference(via_stack_9, (26.91,7.48), rotation=pi/2))
current_reference_40ua.add(gdstk.Reference(via_stack_10, (32.29,7.48), rotation=pi/2))
current_reference_40ua.add(gdstk.Reference(via_stack_9, (32.29,7.48), rotation=pi/2))
current_reference_40ua.add(gdstk.Reference(via_stack_8, (5.15,9.59), rotation=pi/2))
current_reference_40ua.add(gdstk.Reference(via_stack_15, (5.15,9.59), rotation=pi/2))
current_reference_40ua.add(gdstk.Reference(via_stack_8, (2.77,9.59), rotation=pi/2))
current_reference_40ua.add(gdstk.Reference(via_stack_12, (2.77,9.59), rotation=pi/2))
current_reference_40ua.add(gdstk.Reference(via_stack_6, (35.65,8.88), rotation=pi/2))
current_reference_40ua.add(gdstk.Reference(rsil, (14.24,9.08)))
current_reference_40ua.add(gdstk.Reference(nmoshv_3, (13.31,1.12)))
current_reference_40ua.add(gdstk.Label('VDD', (0.44,20.87), layer=8, texttype=25))
current_reference_40ua.add(gdstk.Label('VSS', (0.23,0.23), layer=8, texttype=25))
current_reference_40ua.add(gdstk.Label('iout', (1.02,4.12), layer=10, texttype=25))

via_stack_19 = lib.new_cell('via_stack$19')
R(via_stack_19, GatPoly, [(-0.15,-9.33,0.15,9.33)])
A(via_stack_19, Cont, -0.08, -9.26, 0.16, 0.16, 1, 55, 0, 0.34)
R(via_stack_19, Metal1, [(-0.08,-9.31,0.08,9.31)])

via_stack_16 = lib.new_cell('via_stack$16')
R(via_stack_16, Metal1, [(-2.4,-0.105,2.4,0.105)])
R(via_stack_16, Metal2, [(-2.4,-0.1,2.4,0.1)])
A(via_stack_16, Via1, -2.35, -0.095, 0.19, 0.19, 12, 1, 0.41, 0)

bias_current_generator = lib.new_cell('bias_current_generator')
R(bias_current_generator, Activ, [(0.14,-11.35,0.19,-3.17), (41.21,-3.17,53.95,-3.13), (-0.07,-2.69,-0.03,4.69)])
A(bias_current_generator, Metal1, 18.92, -11.05, 0.16, 0.79, 3, 2, 10.76, 6.79)
A(bias_current_generator, Metal1, 5.99, 3.5, 0.16, 0.89, 7, 1, 4.76, 0)
R(bias_current_generator, Metal1, [(0.14,-11.35,0.19,-3.17), (0.19,-11.35,53.95,-10.5), (6.48,-11.05,6.64,-10.26), (46.89,-11.05,47.66,-3.47), (1.1,-4.26,1.47,-3.935), (6.48,-4.26,6.64,-3.47), (24.09,-4.245,24.67,-3.935), (34.85,-4.245,35.43,-3.935), (41.21,-3.17,53.95,-3.13), (41.51,-2.83,42.28,4.75), (-0.07,-2.69,-0.03,4.69), (47.23,-2.34,47.685,-2.055), (3.61,-1.705,3.77,-1.5), (22.65,-1.705,22.81,-1.5), (27.41,-1.705,27.57,-1.5), (0.27,-1.5,1.39,4.39), (39.31,-1.5,40.43,4.39)])
R(bias_current_generator, Metal1_pin, [(0.19,-11.35,0.59,-10.95), (-0.03,4.29,0.37,4.69)])
A(bias_current_generator, Metal2, 18.71, -4.14, 0.58, 0.2, 3, 1, 10.76, 0)
R(bias_current_generator, Metal2, [(11.74,-7.46,12.14,-7.06), (13.42,-7.46,13.82,-7.06), (52.76,-7.46,53.16,-7.06), (24.09,-4.245,24.67,-3.94), (34.85,-4.245,35.43,-3.94), (6.27,-4.14,6.85,-3.94), (13.01,0.8,13.41,1.2), (32.05,0.8,32.45,1.2)])
R(bias_current_generator, Metal2_pin, [(11.74,-7.46,12.14,-7.06), (13.42,-7.46,13.82,-7.06), (52.76,-7.46,53.16,-7.06), (13.01,0.8,13.41,1.2), (32.05,0.8,32.45,1.2)])
R(bias_current_generator, ThickGateOx, [(12.36,-10.78,13.2,-3.74), (46.32,-10.78,47.16,-3.74)])
bias_current_generator.add(gdstk.FlexPath([(8.45,-1.4),(8.45,-3.94)], 0.2, ends="flush", simple_path=True, layer=10, datatype=0))  # Metal2
bias_current_generator.add(gdstk.FlexPath([(17.97,-1.4),(17.97,-3.94)], 0.2, ends="flush", simple_path=True, layer=10, datatype=0))  # Metal2
bias_current_generator.add(gdstk.FlexPath([(45.92,-4.245),(45.92,-1.785),(39.18,-1.785)], 0.2, ends="flush", simple_path=True, layer=10, datatype=0))  # Metal2
bias_current_generator.add(gdstk.FlexPath([(37.11,1),(47.48,1)], 0.2, ends="flush", simple_path=True, layer=10, datatype=0))  # Metal2
bias_current_generator.add(gdstk.FlexPath([(47.58,-2.055),(47.58,-4.04),(47.87,-4.04)], 0.2, ends="flush", simple_path=True, layer=10, datatype=0))  # Metal2
bias_current_generator.add(gdstk.FlexPath([(-0.85,-4.245),(-0.85,-1.2),(3.59,-1.2)], 0.4, ends="flush", simple_path=True, layer=10, datatype=0))  # Metal2
bias_current_generator.add(gdstk.Reference(pmoshv, (1.16,-1.5)))
bias_current_generator.add(gdstk.Reference(nmoshv_2, (13.47,-10.26)))
bias_current_generator.add(gdstk.Reference(via_stack, (24.38,-7.26), rotation=pi/2))
bias_current_generator.add(gdstk.Reference(via_stack, (35.15,-7.26), rotation=pi/2))
bias_current_generator.add(gdstk.Reference(via_stack_2, (16.31,-4.04), rotation=pi/2))
bias_current_generator.add(gdstk.Reference(via_stack_4, (16.31,-4.04), rotation=pi/2))
bias_current_generator.add(gdstk.Reference(via_stack_2, (21.69,-4.04), rotation=pi/2))
bias_current_generator.add(gdstk.Reference(via_stack_2, (27.07,-4.04), rotation=pi/2))
bias_current_generator.add(gdstk.Reference(via_stack_2, (32.45,-4.04), rotation=pi/2))
bias_current_generator.add(gdstk.Reference(via_stack_2, (37.83,-4.04), rotation=pi/2))
bias_current_generator.add(gdstk.Reference(via_stack_2, (43.21,-4.04), rotation=pi/2))
bias_current_generator.add(gdstk.Reference(via_stack_4, (21.69,-4.04), rotation=pi/2))
bias_current_generator.add(gdstk.Reference(via_stack_4, (27.07,-4.04), rotation=pi/2))
bias_current_generator.add(gdstk.Reference(via_stack_4, (32.45,-4.04), rotation=pi/2))
bias_current_generator.add(gdstk.Reference(via_stack_4, (37.83,-4.04), rotation=pi/2))
bias_current_generator.add(gdstk.Reference(via_stack_4, (43.21,-4.04), rotation=pi/2))
bias_current_generator.add(gdstk.Reference(nmoshv_4, (47.43,-10.26)))
bias_current_generator.add(gdstk.Reference(nmoshv, (1.03,-10.26)))
bias_current_generator.add(gdstk.Reference(nmoshv_4, (42.05,-2.04)))
bias_current_generator.add(gdstk.Reference(current_reference_40ua, (0.17,-11.38), rotation=pi, x_reflection=True))
bias_current_generator.add(gdstk.Reference(via_stack_19, (10.83,-1.785), rotation=pi/2))
bias_current_generator.add(gdstk.Reference(via_stack_16, (3.69,1), rotation=pi/2))
bias_current_generator.add(gdstk.Reference(via_stack_16, (8.45,1), rotation=pi/2))
bias_current_generator.add(gdstk.Reference(via_stack_16, (17.97,1), rotation=pi/2))
bias_current_generator.add(gdstk.Reference(via_stack_16, (22.73,1), rotation=pi/2))
bias_current_generator.add(gdstk.Reference(via_stack_16, (27.49,1), rotation=pi/2))
bias_current_generator.add(gdstk.Reference(via_stack_16, (32.25,1), rotation=pi/2))
bias_current_generator.add(gdstk.Reference(via_stack_19, (29.87,-1.785), rotation=pi/2))
bias_current_generator.add(gdstk.Reference(via_stack_16, (37.01,1), rotation=pi/2))
bias_current_generator.add(gdstk.Reference(via_stack_2, (3.87,-4.04), rotation=pi/2))
bias_current_generator.add(gdstk.Reference(via_stack_4, (3.87,-4.04), rotation=pi/2))
bias_current_generator.add(gdstk.Reference(via_stack_2, (9.25,-4.04), rotation=pi/2))
bias_current_generator.add(gdstk.Reference(via_stack_4, (9.25,-4.04), rotation=pi/2))
bias_current_generator.add(gdstk.Reference(via_stack, (11.94,-7.26), rotation=pi/2))
bias_current_generator.add(gdstk.Reference(via_stack_16, (13.21,1), rotation=pi/2))
bias_current_generator.add(gdstk.Reference(via_stack, (13.62,-7.26), rotation=pi/2))
bias_current_generator.add(gdstk.Reference(via_stack, (45.92,-7.26), rotation=pi/2))
bias_current_generator.add(gdstk.Reference(via_stack_4, (36.795,-1.785), rotation=pi/2))
bias_current_generator.add(gdstk.Reference(via_stack, (47.58,0.96), rotation=pi/2))
bias_current_generator.add(gdstk.Reference(via_stack_2, (50.27,-4.04), rotation=pi/2))
bias_current_generator.add(gdstk.Reference(via_stack_4, (50.27,-4.04), rotation=pi/2))
bias_current_generator.add(gdstk.Reference(via_stack, (52.96,-7.26), rotation=pi/2))
bias_current_generator.add(gdstk.Reference(via_stack_2, (44.89,-2.26), rotation=pi/2))
bias_current_generator.add(gdstk.Label('VSS', (0.39,-11.15), layer=8, texttype=25))
bias_current_generator.add(gdstk.Label('VDD', (0.17,4.49), layer=8, texttype=25))
bias_current_generator.add(gdstk.Label('40uA-', (11.94,-7.26), layer=10, texttype=25))
bias_current_generator.add(gdstk.Label('40uA+', (13.21,1), layer=10, texttype=25))
bias_current_generator.add(gdstk.Label('10uA-', (13.62,-7.26), layer=10, texttype=25))
bias_current_generator.add(gdstk.Label('5uA+', (32.25,1), layer=10, texttype=25))
bias_current_generator.add(gdstk.Label('5uA-', (52.96,-7.26), layer=10, texttype=25))

lib.write_gds('bias_current_generator.gds')
